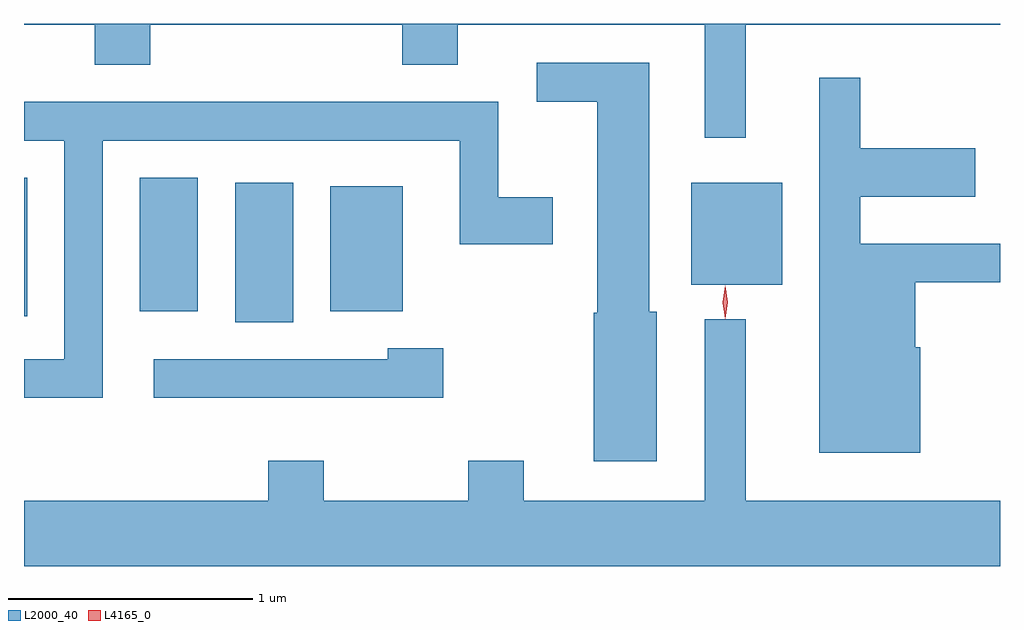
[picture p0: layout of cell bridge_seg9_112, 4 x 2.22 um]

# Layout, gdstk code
import gdstk
lib = gdstk.Library(unit=1e-6, precision=1e-09)
def R(c, l, rs):  # rectangles x0, y0, x1, y1
    for r in rs: c.add(gdstk.rectangle(r[:2], r[2:], *l))
def P(c, l, *ps):  # polygons
    for p in ps: c.add(gdstk.Polygon(p, *l))
L2000_40 = (2000, 40)
L4165_0 = (4165, 0)

bridge_seg9_112 = lib.new_cell('bridge_seg9_112')
R(bridge_seg9_112, L2000_40, [(1748.926,1968.396,1749.164,1968.969), (1748.061,1968.421,1748.074,1968.989), (1748.536,1968.441,1748.774,1968.989), (1749.316,1968.441,1749.614,1968.954), (1750.796,1968.551,1751.169,1968.969)])
P(bridge_seg9_112, L2000_40, [(1751.019,1969.616),(1752.061,1969.616),(1752.061,1969.62),(1748.061,1969.62),(1748.061,1969.616),(1748.351,1969.616),(1748.351,1969.451),(1748.579,1969.451),(1748.579,1969.616),(1749.611,1969.616),(1749.611,1969.451),(1749.839,1969.451),(1749.839,1969.616),(1750.851,1969.616),(1750.851,1969.153),(1751.019,1969.153)],
  [(1750.654,1968.439),(1750.624,1968.439),(1750.624,1969.459),(1750.163,1969.459),(1750.163,1969.301),(1750.411,1969.301),(1750.411,1968.435),(1750.396,1968.435),(1750.396,1967.826),(1750.654,1967.826)],
  [(1751.734,1968.294),(1751.714,1968.294),(1751.714,1968.561),(1752.061,1968.561),(1752.061,1968.719),(1751.489,1968.719),(1751.489,1968.911),(1751.959,1968.911),(1751.959,1969.109),(1751.489,1969.109),(1751.489,1969.398),(1751.321,1969.398),(1751.321,1967.861),(1751.734,1967.861)],
  [(1748.384,1969.141),(1749.846,1969.141),(1749.846,1968.716),(1750.229,1968.716),(1750.229,1968.909),(1750.004,1968.909),(1750.004,1969.299),(1748.061,1969.299),(1748.061,1969.141),(1748.226,1969.141),(1748.226,1968.244),(1748.061,1968.244),(1748.061,1968.086),(1748.384,1968.086)],
  [(1752.061,1967.664),(1751.019,1967.664),(1751.019,1968.408),(1750.851,1968.408),(1750.851,1967.664),(1750.109,1967.664),(1750.109,1967.829),(1749.881,1967.829),(1749.881,1967.664),(1749.289,1967.664),(1749.289,1967.829),(1749.061,1967.829),(1749.061,1967.664),(1748.061,1967.664),(1748.061,1967.396),(1752.061,1967.396)],
  [(1749.779,1968.289),(1749.551,1968.289),(1749.551,1968.244),(1748.593,1968.244),(1748.593,1968.086),(1749.779,1968.086)])
P(bridge_seg9_112, L4165_0, [(1750.935,1968.409),(1750.934,1968.41),(1750.925,1968.478),(1750.934,1968.546),(1750.935,1968.546),(1750.935,1968.546),(1750.945,1968.478),(1750.935,1968.41)],
  [(1750.934,1968.413),(1750.924,1968.477),(1750.934,1968.541),(1750.934,1968.542),(1750.935,1968.541),(1750.944,1968.477),(1750.935,1968.413),(1750.935,1968.413)])

lib.write_gds('bridge_seg9_112.gds')
